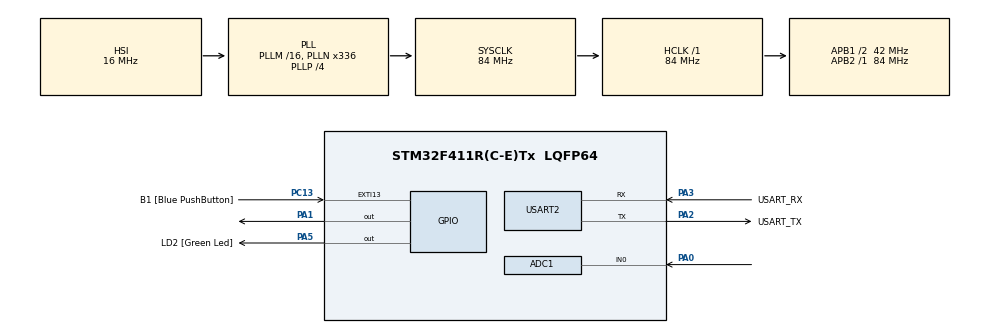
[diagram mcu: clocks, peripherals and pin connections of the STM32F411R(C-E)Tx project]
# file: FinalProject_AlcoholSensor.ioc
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ADC1.Channel-0\#ChannelRegularConversion=ADC_CHANNEL_0
ADC1.NbrOfConversionFlag=1
ADC1.Rank-0\#ChannelRegularConversion=1
ADC1.SamplingTime-0\#ChannelRegularConversion=ADC_SAMPLETIME_3CYCLES
ADC1.master=1
Mcu.Family=STM32F4
Mcu.Name=STM32F411R(C-E)Tx
Mcu.Package=LQFP64
NVIC.PriorityGroup=NVIC_PRIORITYGROUP_0
PA0-WKUP.Signal=ADCx_IN0
PA1.Signal=GPIO_Output
PA13.GPIO_Label=TMS
PA13.Mode=Serial_Wire
PA13.Signal=SYS_JTMS-SWDIO
PA14.GPIO_Label=TCK
PA14.Mode=Serial_Wire
PA14.Signal=SYS_JTCK-SWCLK
PA2.GPIO_Label=USART_TX
PA2.Mode=Asynchronous
PA2.Signal=USART2_TX
PA3.GPIO_Label=USART_RX
PA3.Mode=Asynchronous
PA3.Signal=USART2_RX
PA5.GPIO_Label=LD2 [Green Led]
PA5.Signal=GPIO_Output
PB3.GPIO_Label=SWO
PB3.Signal=SYS_JTDO-SWO
PC13-ANTI_TAMP.GPIO_Label=B1 [Blue PushButton]
PC13-ANTI_TAMP.GPIO_ModeDefaultEXTI=GPIO_MODE_IT_FALLING
PC13-ANTI_TAMP.Signal=GPXTI13
PC14-OSC32_IN.Mode=LSE-External-Oscillator
PC14-OSC32_IN.Signal=RCC_OSC32_IN
PC15-OSC32_OUT.Mode=LSE-External-Oscillator
PC15-OSC32_OUT.Signal=RCC_OSC32_OUT
PH0\ -\ OSC_IN.Mode=HSE-External-Clock-Source
PH0\ -\ OSC_IN.Signal=RCC_OSC_IN
PH1\ -\ OSC_OUT.Mode=HSE-External-Clock-Source
PH1\ -\ OSC_OUT.Signal=RCC_OSC_OUT
ProjectManager.HeapSize=0x200
ProjectManager.StackSize=0x400
ProjectManager.TargetToolchain=STM32CubeIDE
RCC.48MHZClocksFreq_Value=84000000
RCC.AHBFreq_Value=84000000
RCC.APB1CLKDivider=RCC_HCLK_DIV2
RCC.APB1Freq_Value=42000000
RCC.APB1TimFreq_Value=84000000
RCC.APB2Freq_Value=84000000
RCC.APB2TimFreq_Value=84000000
RCC.CortexFreq_Value=84000000
RCC.FLatency-AdvancedSettings=FLASH_LATENCY_2
RCC.HCLKFreq_Value=84000000
RCC.HSE_VALUE=8000000
RCC.HSI_VALUE=16000000
RCC.PLLN=336
RCC.PLLP=RCC_PLLP_DIV4
RCC.SYSCLKFreq_VALUE=84000000
RCC.SYSCLKSource=RCC_SYSCLKSOURCE_PLLCLK
RCC.VCOOutputFreq_Value=336000000
SH.ADCx_IN0.0=ADC1_IN0,IN0
USART2.VirtualMode=VM_ASYNC
board=NUCLEO-F411RE

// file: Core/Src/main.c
/* USER CODE BEGIN Header */
/**
  ******************************************************************************
  * @file           : main.c
  * @brief          : Main program body
  ******************************************************************************
  * @attention
  *
  * Copyright (c) 2024 STMicroelectronics.
  * All rights reserved.
  *
  * This software is licensed under terms that can be found in the LICENSE file
  * in the root directory of this software component.
  * If no LICENSE file comes with this software, it is provided AS-IS.
  *
  ******************************************************************************
  */
/* USER CODE END Header */
#include "main.h"

ADC_HandleTypeDef hadc1;

UART_HandleTypeDef huart2;

void SystemClock_Config(void);
static void MX_GPIO_Init(void);
static void MX_USART2_UART_Init(void);
static void MX_ADC1_Init(void);

/* USER CODE BEGIN 0 */
void uartPrint(const char* msg) {
	HAL_UART_Transmit(&huart2, msg, strlen(msg), 100);
}

void uartPrintln(const char* msg) {
	uartPrint(msg);
	uartPrint("\r\n");
}
/* USER CODE END 0 */

int main(void)
{

  /* MCU Configuration--------------------------------------------------------*/

  /* Reset of all peripherals, Initializes the Flash interface and the Systick. */
  HAL_Init();

  /* Configure the system clock */
  SystemClock_Config();

  /* Initialize all configured peripherals */
  MX_GPIO_Init();
  MX_USART2_UART_Init();
  MX_ADC1_Init();
  /* USER CODE BEGIN 2 */
  char line[100];
  int alcoholThreshold = 1300;
  int alcoholState = 0;
  /* USER CODE END 2 */

  /* Infinite loop */
  /* USER CODE BEGIN WHILE */
  while (1)
  {
	  HAL_ADC_Start(&hadc1);
	  if(HAL_ADC_PollForConversion(&hadc1, 1000) == HAL_OK) {
		  int alcoholLevel = HAL_ADC_GetValue(&hadc1);
		  int tick = HAL_GetTick();
		  sprintf(line, "Time: %d, Alcohol: %d", tick, alcoholLevel);
		  if(alcoholLevel > alcoholThreshold) {
			  if(alcoholState == 0) {
				  uartPrintln("Entering state 1");
				  HAL_GPIO_WritePin(GPIOA, GPIO_PIN_1, GPIO_PIN_SET);
				  HAL_Delay(5000);
				  HAL_GPIO_WritePin(GPIOA, GPIO_PIN_1, GPIO_PIN_RESET);
			  }
			  alcoholState = 1;
		  } else {
			  if(alcoholState == 1) {
				  uartPrintln("Entering state 0");
			  }
			  alcoholState = 0;
		  }
		  uartPrintln(line);

	  }
	  HAL_Delay(1000);
    /* USER CODE END WHILE */

  }
}

void SystemClock_Config(void)
{
  RCC_OscInitTypeDef RCC_OscInitStruct = {0};
  RCC_ClkInitTypeDef RCC_ClkInitStruct = {0};

  /** Configure the main internal regulator output voltage
  */
  __HAL_RCC_PWR_CLK_ENABLE();
  __HAL_PWR_VOLTAGESCALING_CONFIG(PWR_REGULATOR_VOLTAGE_SCALE1);

  /** Initializes the RCC Oscillators according to the specified parameters
  * in the RCC_OscInitTypeDef structure.
  */
  RCC_OscInitStruct.OscillatorType = RCC_OSCILLATORTYPE_HSI;
  RCC_OscInitStruct.HSIState = RCC_HSI_ON;
  RCC_OscInitStruct.HSICalibrationValue = RCC_HSICALIBRATION_DEFAULT;
  RCC_OscInitStruct.PLL.PLLState = RCC_PLL_ON;
  RCC_OscInitStruct.PLL.PLLSource = RCC_PLLSOURCE_HSI;
  RCC_OscInitStruct.PLL.PLLM = 16;
  RCC_OscInitStruct.PLL.PLLN = 336;
  RCC_OscInitStruct.PLL.PLLP = RCC_PLLP_DIV4;
  RCC_OscInitStruct.PLL.PLLQ = 4;
  if (HAL_RCC_OscConfig(&RCC_OscInitStruct) != HAL_OK)
  {
    Error_Handler();
  }

  /** Initializes the CPU, AHB and APB buses clocks
  */
  RCC_ClkInitStruct.ClockType = RCC_CLOCKTYPE_HCLK|RCC_CLOCKTYPE_SYSCLK
                              |RCC_CLOCKTYPE_PCLK1|RCC_CLOCKTYPE_PCLK2;
  RCC_ClkInitStruct.SYSCLKSource = RCC_SYSCLKSOURCE_PLLCLK;
  RCC_ClkInitStruct.AHBCLKDivider = RCC_SYSCLK_DIV1;
  RCC_ClkInitStruct.APB1CLKDivider = RCC_HCLK_DIV2;
  RCC_ClkInitStruct.APB2CLKDivider = RCC_HCLK_DIV1;

  if (HAL_RCC_ClockConfig(&RCC_ClkInitStruct, FLASH_LATENCY_2) != HAL_OK)
  {
    Error_Handler();
  }
}

static void MX_ADC1_Init(void)
{

  ADC_ChannelConfTypeDef sConfig = {0};

  /** Configure the global features of the ADC (Clock, Resolution, Data Alignment and number of conversion)
  */
  hadc1.Instance = ADC1;
  hadc1.Init.ClockPrescaler = ADC_CLOCK_SYNC_PCLK_DIV4;
  hadc1.Init.Resolution = ADC_RESOLUTION_12B;
  hadc1.Init.ScanConvMode = DISABLE;
  hadc1.Init.ContinuousConvMode = DISABLE;
  hadc1.Init.DiscontinuousConvMode = DISABLE;
  hadc1.Init.ExternalTrigConvEdge = ADC_EXTERNALTRIGCONVEDGE_NONE;
  hadc1.Init.ExternalTrigConv = ADC_SOFTWARE_START;
  hadc1.Init.DataAlign = ADC_DATAALIGN_RIGHT;
  hadc1.Init.NbrOfConversion = 1;
  hadc1.Init.DMAContinuousRequests = DISABLE;
  hadc1.Init.EOCSelection = ADC_EOC_SINGLE_CONV;
  if (HAL_ADC_Init(&hadc1) != HAL_OK)
  {
    Error_Handler();
  }

  /** Configure for the selected ADC regular channel its corresponding rank in the sequencer and its sample time.
  */
  sConfig.Channel = ADC_CHANNEL_0;
  sConfig.Rank = 1;
  sConfig.SamplingTime = ADC_SAMPLETIME_3CYCLES;
  if (HAL_ADC_ConfigChannel(&hadc1, &sConfig) != HAL_OK)
  {
    Error_Handler();
  }

}

static void MX_USART2_UART_Init(void)
{

  huart2.Instance = USART2;
  huart2.Init.BaudRate = 115200;
  huart2.Init.WordLength = UART_WORDLENGTH_8B;
  huart2.Init.StopBits = UART_STOPBITS_1;
  huart2.Init.Parity = UART_PARITY_NONE;
  huart2.Init.Mode = UART_MODE_TX_RX;
  huart2.Init.HwFlowCtl = UART_HWCONTROL_NONE;
  huart2.Init.OverSampling = UART_OVERSAMPLING_16;
  if (HAL_UART_Init(&huart2) != HAL_OK)
  {
    Error_Handler();
  }

}

static void MX_GPIO_Init(void)
{
  GPIO_InitTypeDef GPIO_InitStruct = {0};

  /* GPIO Ports Clock Enable */
  __HAL_RCC_GPIOC_CLK_ENABLE();
  __HAL_RCC_GPIOH_CLK_ENABLE();
  __HAL_RCC_GPIOA_CLK_ENABLE();
  __HAL_RCC_GPIOB_CLK_ENABLE();

  /*Configure GPIO pin Output Level */
  HAL_GPIO_WritePin(GPIOA, GPIO_PIN_1|LD2_Pin, GPIO_PIN_RESET);

  /*Configure GPIO pin : B1_Pin */
  GPIO_InitStruct.Pin = B1_Pin;
  GPIO_InitStruct.Mode = GPIO_MODE_IT_FALLING;
  GPIO_InitStruct.Pull = GPIO_NOPULL;
  HAL_GPIO_Init(B1_GPIO_Port, &GPIO_InitStruct);

  /*Configure GPIO pins : PA1 LD2_Pin */
  GPIO_InitStruct.Pin = GPIO_PIN_1|LD2_Pin;
  GPIO_InitStruct.Mode = GPIO_MODE_OUTPUT_PP;
  GPIO_InitStruct.Pull = GPIO_NOPULL;
  GPIO_InitStruct.Speed = GPIO_SPEED_FREQ_LOW;
  HAL_GPIO_Init(GPIOA, &GPIO_InitStruct);

}

void Error_Handler(void)
{
  __disable_irq();
  while (1)
  {
  }
}
